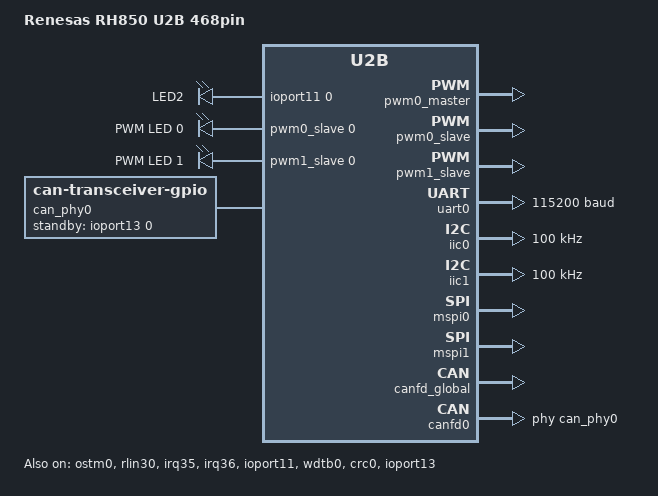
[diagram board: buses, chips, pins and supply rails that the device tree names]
/*
 * Copyright (c) 2026 Renesas Electronics Corporation
 * SPDX-License-Identifier: Apache-2.0
 */

/dts-v1/;

#include <dt-bindings/input/input-event-codes.h>
#include <rh850/renesas/rh850u2b/r7f70254xafabg-c.dtsi>
#include <dt-bindings/gpio/gpio.h>
#include <dt-bindings/pwm/pwm.h>

#include "pb_rh850u2b_468pin-pinctrl.dtsi"

/ {
	model = "Renesas RH850 U2B 468pin";
	compatible = "renesas,pb-rh850u2b-468pin", "renesas,u2b";

	chosen {
		zephyr,console = &uart0;
		zephyr,shell-uart = &uart0;
		zephyr,sram = &sram0;
		zephyr,flash = &flash0;
		zephyr,system-timer = &ostm0;
		zephyr,crc = &crc0;
		zephyr,canbus = &canfd0;
	};

	aliases {
		led0 = &led2;
		watchdog0 = &wdtb0;
		pwm-led0 = &pwm_led_0;
		pwm-led1 = &pwm_led_1;
	};

	leds {
		compatible = "gpio-leds";

		led2: led2 {
			gpios = <&ioport11 0 GPIO_ACTIVE_HIGH>;
			label = "LED2";
		};
	};

	pwmleds {
		compatible = "pwm-leds";

		pwm_led_0: pwm_led_0 {
			pwms = <&pwm0_slave 0 PWM_MSEC(20) PWM_POLARITY_NORMAL>;
			label = "PWM LED 0";
		};

		pwm_led_1: pwm_led_1 {
			pwms = <&pwm1_slave 0 PWM_MSEC(20) PWM_POLARITY_INVERTED>;
			label = "PWM LED 1";
		};
	};

	can_phy0: can-phy0 {
		compatible = "can-transceiver-gpio";
		standby-gpios = <&ioport13 0 GPIO_ACTIVE_HIGH>;
		max-bitrate = <8000000>;
		#phy-cells = <0>;
	};
};

&pwm0_master {
	status = "okay";
};

&pwm0_slave {
	pinctrl-0 = <&pwm0_slave_default>;
	pinctrl-names = "default";
	status = "okay";
};

&pwm1_slave {
	pinctrl-0 = <&pwm1_slave_default>;
	pinctrl-names = "default";
	status = "okay";
};

&ostm0 {
	status = "okay";

	timer {
		status = "okay";
	};
};

&rlin30 {
	pinctrl-0 = <&rlin30_default>;
	pinctrl-names = "default";
	status = "okay";

	uart0: uart {
		current-speed = <115200>;
		status = "okay";
	};
};

&irq35 {
	trigger-type = "falling";
	pinctrl-0 = <&irq35_ioport>;
	pinctrl-names = "default";
	status = "okay";
};

&irq36 {
	trigger-type = "falling";
	pinctrl-0 = <&irq36_ioport>;
	pinctrl-names = "default";
	status = "okay";
};

&ioport11 {
	status = "okay";
};

&iic0 {
	pinctrl-0 = <&iic0_default>;
	pinctrl-names = "default";
	clock-frequency = <100000>;
	status = "okay";
};

&iic1 {
	pinctrl-0 = <&iic1_default>;
	pinctrl-names = "default";
	clock-frequency = <100000>;
	status = "okay";
};

&mspi0 {
	pinctrl-0 = <&mspi0_default>;
	pinctrl-names = "default";
	channel = <0>;
	status = "okay";
};

&mspi1 {
	pinctrl-0 = <&mspi1_default>;
	pinctrl-names = "default";
	channel = <0>;
	status = "okay";
};

&wdtb0 {
	status = "okay";
};

&crc0 {
	status = "okay";
};

&canfd_global {
	status = "okay";
};

&canfd0 {
	pinctrl-0 = <&canfd0_default>;
	pinctrl-names = "default";
	status = "okay";
	rx-max-filters = <128>;
	phys = <&can_phy0>;
};

&ioport13 {
	status = "okay";
};
